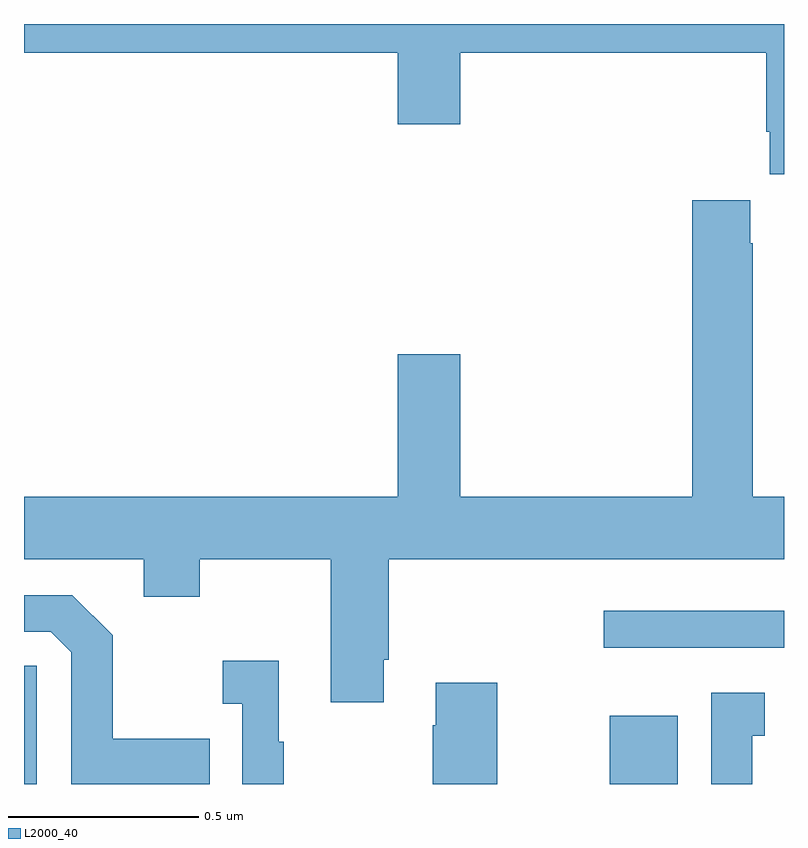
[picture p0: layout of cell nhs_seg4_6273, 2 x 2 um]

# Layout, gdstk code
import gdstk
lib = gdstk.Library(unit=1e-6, precision=1e-09)
def R(c, l, rs):  # rectangles x0, y0, x1, y1
    for r in rs: c.add(gdstk.rectangle(r[:2], r[2:], *l))
def P(c, l, *ps):  # polygons
    for p in ps: c.add(gdstk.Polygon(p, *l))
L2000_40 = (2000, 40)

nhs_seg4_6273 = lib.new_cell('nhs_seg4_6273')
R(nhs_seg4_6273, L2000_40, [(188,790.9,188.034,791.211), (189.542,790.9,189.721,791.08), (189.525,791.259,190,791.356)])
P(nhs_seg4_6273, L2000_40, [(190,792.9),(188,792.9),(188,792.824),(188.984,792.824),(188.984,792.636),(189.148,792.636),(189.148,792.824),(189.953,792.824),(189.953,792.616),(189.962,792.616),(189.962,792.504),(190,792.504)],
  [(188.947,791.227),(188.96,791.227),(188.96,791.492),(190,791.492),(190,791.656),(189.918,791.656),(189.918,792.323),(189.911,792.323),(189.911,792.436),(189.758,792.436),(189.758,791.656),(189.148,791.656),(189.148,792.031),(188.984,792.031),(188.984,791.656),(188,791.656),(188,791.492),(188.315,791.492),(188.315,791.393),(188.463,791.393),(188.463,791.492),(188.807,791.492),(188.807,791.115),(188.947,791.115)],
  [(188.489,791.019),(188.233,791.019),(188.233,791.291),(188.127,791.397),(188,791.397),(188,791.301),(188.07,791.301),(188.124,791.247),(188.124,790.9),(188.489,790.9)],
  [(188.683,791.011),(188.671,791.011),(188.671,791.224),(188.523,791.224),(188.523,791.111),(188.574,791.111),(188.574,790.9),(188.683,790.9)],
  [(189.246,791.167),(189.083,791.167),(189.083,791.054),(189.076,791.054),(189.076,790.9),(189.246,790.9)],
  [(189.916,791.027),(189.949,791.027),(189.949,791.14),(189.809,791.14),(189.809,790.9),(189.916,790.9)])

lib.write_gds('nhs_seg4_6273.gds')
